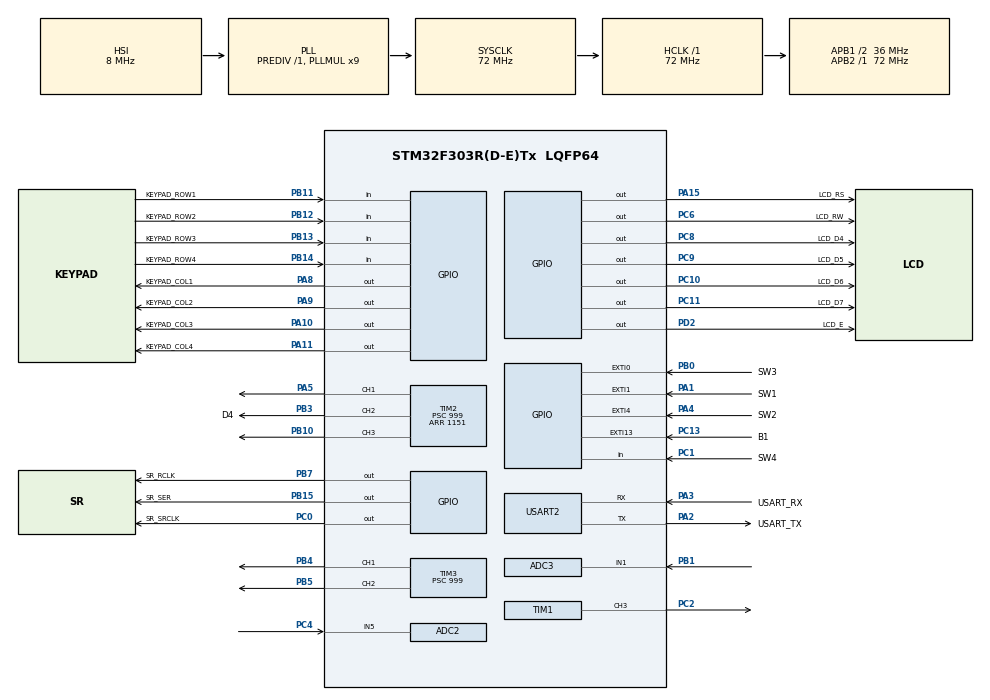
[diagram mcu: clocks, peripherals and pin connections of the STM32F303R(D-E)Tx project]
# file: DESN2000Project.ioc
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ADC2.Channel-0\#ChannelRegularConversion=ADC_CHANNEL_5
ADC2.NbrOfConversionFlag=1
ADC2.Offset-0\#ChannelRegularConversion=0
ADC2.OffsetNumber-0\#ChannelRegularConversion=ADC_OFFSET_NONE
ADC2.Rank-0\#ChannelRegularConversion=1
ADC2.SamplingTime-0\#ChannelRegularConversion=ADC_SAMPLETIME_1CYCLE_5
ADC2.SamplingTimeOPAMP-0\#ChannelRegularConversion=ADC_SAMPLETIME_61CYCLES_5
ADC3.Channel-0\#ChannelRegularConversion=ADC_CHANNEL_1
ADC3.NbrOfConversionFlag=1
ADC3.Offset-0\#ChannelRegularConversion=0
ADC3.OffsetNumber-0\#ChannelRegularConversion=ADC_OFFSET_NONE
ADC3.Rank-0\#ChannelRegularConversion=1
ADC3.SamplingTime-0\#ChannelRegularConversion=ADC_SAMPLETIME_1CYCLE_5
ADC3.SamplingTimeOPAMP-0\#ChannelRegularConversion=ADC_SAMPLETIME_61CYCLES_5
ADC3.master=1
Mcu.Family=STM32F3
Mcu.Name=STM32F303R(D-E)Tx
Mcu.Package=LQFP64
NVIC.EXTI0_IRQn=true\:0\:0\:false\:false\:true\:true\:true\:true
NVIC.EXTI15_10_IRQn=true\:0\:0\:false\:false\:true\:true\:true\:true
NVIC.EXTI1_IRQn=true\:0\:0\:false\:false\:true\:true\:true\:true
NVIC.EXTI4_IRQn=true\:0\:0\:false\:false\:true\:true\:true\:true
NVIC.PriorityGroup=NVIC_PRIORITYGROUP_0
NVIC.RTC_Alarm_IRQn=true\:0\:0\:false\:false\:true\:true\:true\:true
NVIC.TIM6_DAC_IRQn=true\:0\:0\:false\:false\:true\:true\:true\:true
NVIC.TIM7_IRQn=true\:0\:0\:false\:false\:true\:true\:true\:true
PA1.GPIO_Label=SW1
PA1.Signal=GPXTI1
PA10.GPIO_Label=KEYPAD_COL3
PA10.Signal=GPIO_Output
PA11.GPIO_Label=KEYPAD_COL4
PA11.Signal=GPIO_Output
PA13.GPIO_Label=TMS
PA13.Mode=Serial_Wire
PA13.Signal=SYS_JTMS-SWDIO
PA14.GPIO_Label=TCK
PA14.Mode=Serial_Wire
PA14.Signal=SYS_JTCK-SWCLK
PA15.GPIO_Label=LCD_RS
PA15.Signal=GPIO_Output
PA2.GPIO_Label=USART_TX
PA2.GPIO_Mode=GPIO_MODE_AF_PP
PA2.GPIO_PuPd=GPIO_NOPULL
PA2.GPIO_Speed=GPIO_SPEED_FREQ_LOW
PA2.Mode=Asynchronous
PA2.Signal=USART2_TX
PA3.GPIO_Label=USART_RX
PA3.GPIO_Mode=GPIO_MODE_AF_PP
PA3.GPIO_PuPd=GPIO_NOPULL
PA3.GPIO_Speed=GPIO_SPEED_FREQ_LOW
PA3.Mode=Asynchronous
PA3.Signal=USART2_RX
PA4.GPIO_Label=SW2
PA4.Signal=GPXTI4
PA5.Signal=S_TIM2_CH1_ETR
PA8.GPIO_Label=KEYPAD_COL1
PA8.Signal=GPIO_Output
PA9.GPIO_Label=KEYPAD_COL2
PA9.Signal=GPIO_Output
PB0.GPIO_Label=SW3
PB0.Signal=GPXTI0
PB1.Mode=IN1-Single-Ended
PB1.Signal=ADC3_IN1
PB10.Signal=S_TIM2_CH3
PB11.GPIO_Label=KEYPAD_ROW1
PB11.GPIO_PuPd=GPIO_PULLDOWN
PB11.Signal=GPIO_Input
PB12.GPIO_Label=KEYPAD_ROW2
PB12.GPIO_PuPd=GPIO_PULLDOWN
PB12.Signal=GPIO_Input
PB13.GPIO_Label=KEYPAD_ROW3
PB13.GPIO_PuPd=GPIO_PULLDOWN
PB13.Signal=GPIO_Input
PB14.GPIO_Label=KEYPAD_ROW4
PB14.GPIO_PuPd=GPIO_PULLDOWN
PB14.Signal=GPIO_Input
PB15.GPIO_Label=SR_SER
PB15.Signal=GPIO_Output
PB3.GPIO_Label=D4
PB3.Signal=S_TIM2_CH2
PB4.Signal=S_TIM3_CH1
PB5.Signal=S_TIM3_CH2
PB7.GPIO_Label=SR_RCLK
PB7.Signal=GPIO_Output
PC0.GPIO_Label=SR_SRCLK
PC0.Signal=GPIO_Output
PC1.GPIO_Label=SW4
PC1.Signal=GPIO_Input
PC10.GPIO_Label=LCD_D6
PC10.Signal=GPIO_Output
PC11.GPIO_Label=LCD_D7
PC11.Signal=GPIO_Output
PC13.GPIO_Label=B1
PC13.GPIO_PuPd=GPIO_PULLUP
PC13.Signal=GPXTI13
PC14-OSC32_IN.Mode=LSE-External-Oscillator
PC14-OSC32_IN.Signal=RCC_OSC32_IN
PC15-OSC32_OUT.Mode=LSE-External-Oscillator
PC15-OSC32_OUT.Signal=RCC_OSC32_OUT
PC2.Signal=S_TIM1_CH3
PC4.Mode=IN5-Single-Ended
PC4.Signal=ADC2_IN5
PC6.GPIO_Label=LCD_RW
PC6.Signal=GPIO_Output
PC8.GPIO_Label=LCD_D4
PC8.Signal=GPIO_Output
PC9.GPIO_Label=LCD_D5
PC9.Signal=GPIO_Output
PD2.GPIO_Label=LCD_E
PD2.Signal=GPIO_Output
PF0-OSC_IN.Mode=HSE-External-Clock-Source
PF0-OSC_IN.Signal=RCC_OSC_IN
PF1-OSC_OUT.Signal=RCC_OSC_OUT
ProjectManager.HeapSize=0x200
ProjectManager.StackSize=0x400
ProjectManager.TargetToolchain=STM32CubeIDE
RCC.AHBFreq_Value=72000000
RCC.APB1CLKDivider=RCC_HCLK_DIV2
RCC.APB1Freq_Value=36000000
RCC.APB1TimFreq_Value=72000000
RCC.APB2Freq_Value=72000000
RCC.APB2TimFreq_Value=72000000
RCC.CortexFreq_Value=72000000
RCC.HCLKFreq_Value=72000000
RCC.HSE_VALUE=8000000
RCC.HSI_VALUE=8000000
RCC.PLLM=8
RCC.PLLMUL=RCC_PLL_MUL9
RCC.PLLN=336
RCC.PLLP=RCC_PLLP_DIV4
RCC.PLLQ=7
RCC.RCC_PLLsource_Clock_Source_FROM_HSE=RCC_HSE_PREDIV_DIV2
RCC.RTCClockSelection=RCC_RTCCLKSOURCE_LSE
RCC.SYSCLKFreq_VALUE=72000000
RCC.SYSCLKSourceVirtual=RCC_SYSCLKSOURCE_PLLCLK
RCC.USBFreq_Value=72000000
RTC.Alarm-Alarm\ A=RTC_ALARM_A
RTC.AlarmDateWeekDaySel-Alarm\ A=RTC_ALARMDATEWEEKDAYSEL_WEEKDAY
RTC.Format=RTC_FORMAT_BIN
RTC.Minutes_A-Alarm\ A=0
RTC.Seconds_A-Alarm\ A=0
SH.S_TIM1_CH3.0=TIM1_CH3,PWM Generation3 CH3
SH.S_TIM2_CH1_ETR.0=TIM2_CH1,PWM Generation1 CH1
SH.S_TIM2_CH2.0=TIM2_CH2,PWM Generation2 CH2
SH.S_TIM2_CH3.0=TIM2_CH3,PWM Generation3 CH3
SH.S_TIM3_CH1.0=TIM3_CH1,PWM Generation1 CH1
SH.S_TIM3_CH2.0=TIM3_CH2,PWM Generation2 CH2
TIM1.Channel-PWM\ Generation3\ CH3=TIM_CHANNEL_3
TIM1.Period=400
TIM1.Prescaler=71
TIM1.Pulse-PWM\ Generation3\ CH3=0
TIM2.Channel-PWM\ Generation1\ CH1=TIM_CHANNEL_1
TIM2.Channel-PWM\ Generation2\ CH2=TIM_CHANNEL_2
TIM2.Channel-PWM\ Generation3\ CH3=TIM_CHANNEL_3
TIM2.Period=1151
TIM2.Prescaler=999
TIM2.Pulse-PWM\ Generation1\ CH1=115
TIM2.Pulse-PWM\ Generation2\ CH2=115
TIM2.Pulse-PWM\ Generation3\ CH3=115
TIM3.Channel-PWM\ Generation1\ CH1=TIM_CHANNEL_1
TIM3.Channel-PWM\ Generation2\ CH2=TIM_CHANNEL_2
TIM3.Period=1151
TIM3.Prescaler=999
TIM3.Pulse-PWM\ Generation1\ CH1=115
TIM3.Pulse-PWM\ Generation2\ CH2=115
TIM6.Period=719
TIM6.Prescaler=999
TIM7.AutoReloadPreload=TIM_AUTORELOAD_PRELOAD_DISABLE
TIM7.Period=7199
TIM7.Prescaler=9999
USART2.VirtualMode-Asynchronous=VM_ASYNC
VP_RTC_VS_RTC_Activate.Mode=RTC_Enabled
VP_RTC_VS_RTC_Alarm_A_Intern.Mode=Alarm A
VP_RTC_VS_RTC_Calendar.Mode=RTC_Calendar
VP_TIM1_VS_ClockSourceINT.Mode=Internal
VP_TIM2_VS_ClockSourceINT.Mode=Internal
VP_TIM3_VS_ClockSourceINT.Mode=Internal
VP_TIM6_VS_ClockSourceINT.Mode=Enable_Timer
VP_TIM7_VS_ClockSourceINT.Mode=Enable_Timer
board=NUCLEO-F303RE

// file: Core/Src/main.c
/* USER CODE BEGIN Header */
/**
  ******************************************************************************
  * @file           : main.c
  * @brief          : Main program body
  ******************************************************************************
  * @attention
  *
  * Copyright (c) 2024 STMicroelectronics.
  * All rights reserved.
  *
  * This software is licensed under terms that can be found in the LICENSE file
  * in the root directory of this software component.
  * If no LICENSE file comes with this software, it is provided AS-IS.
  *
  ******************************************************************************
  */
/* USER CODE END Header */
#include "main.h"

/* USER CODE BEGIN Includes */
#include "def.h"
#include "LCD.h"
#include "LEDBar.h"
#include "Keypad.h"
#include "STD_CLK.h"
#include "timer.h"
#include "coast.h"
/* USER CODE END Includes */

ADC_HandleTypeDef hadc2;
ADC_HandleTypeDef hadc3;

RTC_HandleTypeDef hrtc;

TIM_HandleTypeDef htim1;
TIM_HandleTypeDef htim2;
TIM_HandleTypeDef htim3;
TIM_HandleTypeDef htim6;
TIM_HandleTypeDef htim7;

UART_HandleTypeDef huart2;

void SystemClock_Config(void);
static void MX_GPIO_Init(void);
static void MX_USART2_UART_Init(void);
static void MX_RTC_Init(void);
static void MX_TIM7_Init(void);
static void MX_TIM1_Init(void);
static void MX_TIM2_Init(void);
static void MX_TIM3_Init(void);
static void MX_TIM6_Init(void);
static void MX_ADC2_Init(void);
static void MX_ADC3_Init(void);

int main(void)
{

  /* MCU Configuration--------------------------------------------------------*/

  /* Reset of all peripherals, Initializes the Flash interface and the Systick. */
  HAL_Init();

  /* Configure the system clock */
  SystemClock_Config();

  /* Initialize all configured peripherals */
  MX_GPIO_Init();
  MX_USART2_UART_Init();
  MX_RTC_Init();
  MX_TIM7_Init();
  MX_TIM1_Init();
  MX_TIM2_Init();
  MX_TIM3_Init();
  MX_TIM6_Init();
  MX_ADC2_Init();
  MX_ADC3_Init();
  /* USER CODE BEGIN 2 */
  HAL_TIM_Base_Start_IT(&htim6);
  HAL_TIM_Base_Start_IT(&htim7);
  HAL_TIM_PWM_Start(&htim1, TIM_CHANNEL_3);
  coast_start();

  // PWM for LD2 and direct LEDs
  HAL_TIM_PWM_Start(&htim2, TIM_CHANNEL_1);
  HAL_TIM_PWM_Start(&htim2, TIM_CHANNEL_2);
  HAL_TIM_PWM_Start(&htim2, TIM_CHANNEL_3);
  HAL_TIM_PWM_Start(&htim3, TIM_CHANNEL_1);
  HAL_TIM_PWM_Start(&htim3, TIM_CHANNEL_2);
  // ADC for LDR1 and LDR2
  HAL_ADC_Start(&hadc2);
  HAL_ADC_Start(&hadc3);
  /* USER CODE END 2 */

  /* Infinite loop */
  while (1)
  {

    /* USER CODE BEGIN 3 */
	  coast_loop_body();

  }
  /* USER CODE END 3 */
}

void SystemClock_Config(void)
{
  RCC_OscInitTypeDef RCC_OscInitStruct = {0};
  RCC_ClkInitTypeDef RCC_ClkInitStruct = {0};
  RCC_PeriphCLKInitTypeDef PeriphClkInit = {0};

  /** Configure LSE Drive Capability
  */
  HAL_PWR_EnableBkUpAccess();
  __HAL_RCC_LSEDRIVE_CONFIG(RCC_LSEDRIVE_LOW);

  /** Initializes the RCC Oscillators according to the specified parameters
  * in the RCC_OscInitTypeDef structure.
  */
  RCC_OscInitStruct.OscillatorType = RCC_OSCILLATORTYPE_HSI|RCC_OSCILLATORTYPE_LSE;
  RCC_OscInitStruct.LSEState = RCC_LSE_ON;
  RCC_OscInitStruct.HSIState = RCC_HSI_ON;
  RCC_OscInitStruct.HSICalibrationValue = RCC_HSICALIBRATION_DEFAULT;
  RCC_OscInitStruct.PLL.PLLState = RCC_PLL_ON;
  RCC_OscInitStruct.PLL.PLLSource = RCC_PLLSOURCE_HSI;
  RCC_OscInitStruct.PLL.PLLMUL = RCC_PLL_MUL9;
  RCC_OscInitStruct.PLL.PREDIV = RCC_PREDIV_DIV1;
  if (HAL_RCC_OscConfig(&RCC_OscInitStruct) != HAL_OK)
  {
    Error_Handler();
  }

  /** Initializes the CPU, AHB and APB buses clocks
  */
  RCC_ClkInitStruct.ClockType = RCC_CLOCKTYPE_HCLK|RCC_CLOCKTYPE_SYSCLK
                              |RCC_CLOCKTYPE_PCLK1|RCC_CLOCKTYPE_PCLK2;
  RCC_ClkInitStruct.SYSCLKSource = RCC_SYSCLKSOURCE_PLLCLK;
  RCC_ClkInitStruct.AHBCLKDivider = RCC_SYSCLK_DIV1;
  RCC_ClkInitStruct.APB1CLKDivider = RCC_HCLK_DIV2;
  RCC_ClkInitStruct.APB2CLKDivider = RCC_HCLK_DIV1;

  if (HAL_RCC_ClockConfig(&RCC_ClkInitStruct, FLASH_LATENCY_2) != HAL_OK)
  {
    Error_Handler();
  }
  PeriphClkInit.PeriphClockSelection = RCC_PERIPHCLK_USART2|RCC_PERIPHCLK_RTC
                              |RCC_PERIPHCLK_TIM1|RCC_PERIPHCLK_ADC12
                              |RCC_PERIPHCLK_ADC34|RCC_PERIPHCLK_TIM2
                              |RCC_PERIPHCLK_TIM34;
  PeriphClkInit.Usart2ClockSelection = RCC_USART2CLKSOURCE_PCLK1;
  PeriphClkInit.Adc12ClockSelection = RCC_ADC12PLLCLK_DIV1;
  PeriphClkInit.Adc34ClockSelection = RCC_ADC34PLLCLK_DIV1;
  PeriphClkInit.RTCClockSelection = RCC_RTCCLKSOURCE_LSE;
  PeriphClkInit.Tim1ClockSelection = RCC_TIM1CLK_HCLK;
  PeriphClkInit.Tim2ClockSelection = RCC_TIM2CLK_HCLK;
  PeriphClkInit.Tim34ClockSelection = RCC_TIM34CLK_HCLK;
  if (HAL_RCCEx_PeriphCLKConfig(&PeriphClkInit) != HAL_OK)
  {
    Error_Handler();
  }
}

static void MX_ADC2_Init(void)
{

  ADC_ChannelConfTypeDef sConfig = {0};

  /** Common config
  */
  hadc2.Instance = ADC2;
  hadc2.Init.ClockPrescaler = ADC_CLOCK_ASYNC_DIV1;
  hadc2.Init.Resolution = ADC_RESOLUTION_12B;
  hadc2.Init.ScanConvMode = ADC_SCAN_DISABLE;
  hadc2.Init.ContinuousConvMode = DISABLE;
  hadc2.Init.DiscontinuousConvMode = DISABLE;
  hadc2.Init.ExternalTrigConvEdge = ADC_EXTERNALTRIGCONVEDGE_NONE;
  hadc2.Init.ExternalTrigConv = ADC_SOFTWARE_START;
  hadc2.Init.DataAlign = ADC_DATAALIGN_RIGHT;
  hadc2.Init.NbrOfConversion = 1;
  hadc2.Init.DMAContinuousRequests = DISABLE;
  hadc2.Init.EOCSelection = ADC_EOC_SINGLE_CONV;
  hadc2.Init.LowPowerAutoWait = DISABLE;
  hadc2.Init.Overrun = ADC_OVR_DATA_OVERWRITTEN;
  if (HAL_ADC_Init(&hadc2) != HAL_OK)
  {
    Error_Handler();
  }

  /** Configure Regular Channel
  */
  sConfig.Channel = ADC_CHANNEL_5;
  sConfig.Rank = ADC_REGULAR_RANK_1;
  sConfig.SingleDiff = ADC_SINGLE_ENDED;
  sConfig.SamplingTime = ADC_SAMPLETIME_1CYCLE_5;
  sConfig.OffsetNumber = ADC_OFFSET_NONE;
  sConfig.Offset = 0;
  if (HAL_ADC_ConfigChannel(&hadc2, &sConfig) != HAL_OK)
  {
    Error_Handler();
  }

}

static void MX_ADC3_Init(void)
{

  ADC_MultiModeTypeDef multimode = {0};
  ADC_ChannelConfTypeDef sConfig = {0};

  /** Common config
  */
  hadc3.Instance = ADC3;
  hadc3.Init.ClockPrescaler = ADC_CLOCK_ASYNC_DIV1;
  hadc3.Init.Resolution = ADC_RESOLUTION_12B;
  hadc3.Init.ScanConvMode = ADC_SCAN_DISABLE;
  hadc3.Init.ContinuousConvMode = DISABLE;
  hadc3.Init.DiscontinuousConvMode = DISABLE;
  hadc3.Init.ExternalTrigConvEdge = ADC_EXTERNALTRIGCONVEDGE_NONE;
  hadc3.Init.ExternalTrigConv = ADC_SOFTWARE_START;
  hadc3.Init.DataAlign = ADC_DATAALIGN_RIGHT;
  hadc3.Init.NbrOfConversion = 1;
  hadc3.Init.DMAContinuousRequests = DISABLE;
  hadc3.Init.EOCSelection = ADC_EOC_SINGLE_CONV;
  hadc3.Init.LowPowerAutoWait = DISABLE;
  hadc3.Init.Overrun = ADC_OVR_DATA_OVERWRITTEN;
  if (HAL_ADC_Init(&hadc3) != HAL_OK)
  {
    Error_Handler();
  }

  /** Configure the ADC multi-mode
  */
  multimode.Mode = ADC_MODE_INDEPENDENT;
  if (HAL_ADCEx_MultiModeConfigChannel(&hadc3, &multimode) != HAL_OK)
  {
    Error_Handler();
  }

  /** Configure Regular Channel
  */
  sConfig.Channel = ADC_CHANNEL_1;
  sConfig.Rank = ADC_REGULAR_RANK_1;
  sConfig.SingleDiff = ADC_SINGLE_ENDED;
  sConfig.SamplingTime = ADC_SAMPLETIME_1CYCLE_5;
  sConfig.OffsetNumber = ADC_OFFSET_NONE;
  sConfig.Offset = 0;
  if (HAL_ADC_ConfigChannel(&hadc3, &sConfig) != HAL_OK)
  {
    Error_Handler();
  }

}

static void MX_RTC_Init(void)
{

  RTC_TimeTypeDef sTime = {0};
  RTC_DateTypeDef sDate = {0};
  RTC_AlarmTypeDef sAlarm = {0};

  /** Initialize RTC Only
  */
  hrtc.Instance = RTC;
  hrtc.Init.HourFormat = RTC_HOURFORMAT_24;
  hrtc.Init.AsynchPrediv = 127;
  hrtc.Init.SynchPrediv = 255;
  hrtc.Init.OutPut = RTC_OUTPUT_DISABLE;
  hrtc.Init.OutPutPolarity = RTC_OUTPUT_POLARITY_HIGH;
  hrtc.Init.OutPutType = RTC_OUTPUT_TYPE_OPENDRAIN;
  if (HAL_RTC_Init(&hrtc) != HAL_OK)
  {
    Error_Handler();
  }

  /** Initialize RTC and set the Time and Date
  */
  sTime.Hours = 0;
  sTime.Minutes = 0;
  sTime.Seconds = 0;
  sTime.DayLightSaving = RTC_DAYLIGHTSAVING_NONE;
  sTime.StoreOperation = RTC_STOREOPERATION_RESET;
  if (HAL_RTC_SetTime(&hrtc, &sTime, RTC_FORMAT_BIN) != HAL_OK)
  {
    Error_Handler();
  }
  sDate.WeekDay = RTC_WEEKDAY_MONDAY;
  sDate.Month = RTC_MONTH_JANUARY;
  sDate.Date = 1;
  sDate.Year = 0;

  if (HAL_RTC_SetDate(&hrtc, &sDate, RTC_FORMAT_BIN) != HAL_OK)
  {
    Error_Handler();
  }

  /** Enable the Alarm A
  */
  sAlarm.AlarmTime.Hours = 0;
  sAlarm.AlarmTime.Minutes = 0;
  sAlarm.AlarmTime.Seconds = 0;
  sAlarm.AlarmTime.SubSeconds = 0;
  sAlarm.AlarmTime.DayLightSaving = RTC_DAYLIGHTSAVING_NONE;
  sAlarm.AlarmTime.StoreOperation = RTC_STOREOPERATION_RESET;
  sAlarm.AlarmMask = RTC_ALARMMASK_NONE;
  sAlarm.AlarmSubSecondMask = RTC_ALARMSUBSECONDMASK_ALL;
  sAlarm.AlarmDateWeekDaySel = RTC_ALARMDATEWEEKDAYSEL_WEEKDAY;
  sAlarm.AlarmDateWeekDay = 1;
  sAlarm.Alarm = RTC_ALARM_A;
  if (HAL_RTC_SetAlarm_IT(&hrtc, &sAlarm, RTC_FORMAT_BIN) != HAL_OK)
  {
    Error_Handler();
  }

}

static void MX_TIM1_Init(void)
{

  TIM_ClockConfigTypeDef sClockSourceConfig = {0};
  TIM_MasterConfigTypeDef sMasterConfig = {0};
  TIM_OC_InitTypeDef sConfigOC = {0};
  TIM_BreakDeadTimeConfigTypeDef sBreakDeadTimeConfig = {0};

  htim1.Instance = TIM1;
  htim1.Init.Prescaler = 71;
  htim1.Init.CounterMode = TIM_COUNTERMODE_UP;
  htim1.Init.Period = 400;
  htim1.Init.ClockDivision = TIM_CLOCKDIVISION_DIV1;
  htim1.Init.RepetitionCounter = 0;
  htim1.Init.AutoReloadPreload = TIM_AUTORELOAD_PRELOAD_DISABLE;
  if (HAL_TIM_Base_Init(&htim1) != HAL_OK)
  {
    Error_Handler();
  }
  sClockSourceConfig.ClockSource = TIM_CLOCKSOURCE_INTERNAL;
  if (HAL_TIM_ConfigClockSource(&htim1, &sClockSourceConfig) != HAL_OK)
  {
    Error_Handler();
  }
  if (HAL_TIM_PWM_Init(&htim1) != HAL_OK)
  {
    Error_Handler();
  }
  sMasterConfig.MasterOutputTrigger = TIM_TRGO_RESET;
  sMasterConfig.MasterOutputTrigger2 = TIM_TRGO2_RESET;
  sMasterConfig.MasterSlaveMode = TIM_MASTERSLAVEMODE_DISABLE;
  if (HAL_TIMEx_MasterConfigSynchronization(&htim1, &sMasterConfig) != HAL_OK)
  {
    Error_Handler();
  }
  sConfigOC.OCMode = TIM_OCMODE_PWM1;
  sConfigOC.Pulse = 0;
  sConfigOC.OCPolarity = TIM_OCPOLARITY_HIGH;
  sConfigOC.OCNPolarity = TIM_OCNPOLARITY_HIGH;
  sConfigOC.OCFastMode = TIM_OCFAST_DISABLE;
  sConfigOC.OCIdleState = TIM_OCIDLESTATE_RESET;
  sConfigOC.OCNIdleState = TIM_OCNIDLESTATE_RESET;
  if (HAL_TIM_PWM_ConfigChannel(&htim1, &sConfigOC, TIM_CHANNEL_3) != HAL_OK)
  {
    Error_Handler();
  }
  sBreakDeadTimeConfig.OffStateRunMode = TIM_OSSR_DISABLE;
  sBreakDeadTimeConfig.OffStateIDLEMode = TIM_OSSI_DISABLE;
  sBreakDeadTimeConfig.LockLevel = TIM_LOCKLEVEL_OFF;
  sBreakDeadTimeConfig.DeadTime = 0;
  sBreakDeadTimeConfig.BreakState = TIM_BREAK_DISABLE;
  sBreakDeadTimeConfig.BreakPolarity = TIM_BREAKPOLARITY_HIGH;
  sBreakDeadTimeConfig.BreakFilter = 0;
  sBreakDeadTimeConfig.Break2State = TIM_BREAK2_DISABLE;
  sBreakDeadTimeConfig.Break2Polarity = TIM_BREAK2POLARITY_HIGH;
  sBreakDeadTimeConfig.Break2Filter = 0;
  sBreakDeadTimeConfig.AutomaticOutput = TIM_AUTOMATICOUTPUT_DISABLE;
  if (HAL_TIMEx_ConfigBreakDeadTime(&htim1, &sBreakDeadTimeConfig) != HAL_OK)
  {
    Error_Handler();
  }
  HAL_TIM_MspPostInit(&htim1);

}

static void MX_TIM2_Init(void)
{

  TIM_ClockConfigTypeDef sClockSourceConfig = {0};
  TIM_MasterConfigTypeDef sMasterConfig = {0};
  TIM_OC_InitTypeDef sConfigOC = {0};

  htim2.Instance = TIM2;
  htim2.Init.Prescaler = 999;
  htim2.Init.CounterMode = TIM_COUNTERMODE_UP;
  htim2.Init.Period = 1151;
  htim2.Init.ClockDivision = TIM_CLOCKDIVISION_DIV1;
  htim2.Init.AutoReloadPreload = TIM_AUTORELOAD_PRELOAD_DISABLE;
  if (HAL_TIM_Base_Init(&htim2) != HAL_OK)
  {
    Error_Handler();
  }
  sClockSourceConfig.ClockSource = TIM_CLOCKSOURCE_INTERNAL;
  if (HAL_TIM_ConfigClockSource(&htim2, &sClockSourceConfig) != HAL_OK)
  {
    Error_Handler();
  }
  if (HAL_TIM_PWM_Init(&htim2) != HAL_OK)
  {
    Error_Handler();
  }
  sMasterConfig.MasterOutputTrigger = TIM_TRGO_RESET;
  sMasterConfig.MasterSlaveMode = TIM_MASTERSLAVEMODE_DISABLE;
  if (HAL_TIMEx_MasterConfigSynchronization(&htim2, &sMasterConfig) != HAL_OK)
  {
    Error_Handler();
  }
  sConfigOC.OCMode = TIM_OCMODE_PWM1;
  sConfigOC.Pulse = 115;
  sConfigOC.OCPolarity = TIM_OCPOLARITY_HIGH;
  sConfigOC.OCFastMode = TIM_OCFAST_DISABLE;
  if (HAL_TIM_PWM_ConfigChannel(&htim2, &sConfigOC, TIM_CHANNEL_1) != HAL_OK)
  {
    Error_Handler();
  }
  if (HAL_TIM_PWM_ConfigChannel(&htim2, &sConfigOC, TIM_CHANNEL_2) != HAL_OK)
  {
    Error_Handler();
  }
  if (HAL_TIM_PWM_ConfigChannel(&htim2, &sConfigOC, TIM_CHANNEL_3) != HAL_OK)
  {
    Error_Handler();
  }
  HAL_TIM_MspPostInit(&htim2);

}

static void MX_TIM3_Init(void)
{

  TIM_ClockConfigTypeDef sClockSourceConfig = {0};
  TIM_MasterConfigTypeDef sMasterConfig = {0};
  TIM_OC_InitTypeDef sConfigOC = {0};

  htim3.Instance = TIM3;
  htim3.Init.Prescaler = 999;
  htim3.Init.CounterMode = TIM_COUNTERMODE_UP;
  htim3.Init.Period = 1151;
  htim3.Init.ClockDivision = TIM_CLOCKDIVISION_DIV1;
  htim3.Init.AutoReloadPreload = TIM_AUTORELOAD_PRELOAD_DISABLE;
  if (HAL_TIM_Base_Init(&htim3) != HAL_OK)
  {
    Error_Handler();
  }
  sClockSourceConfig.ClockSource = TIM_CLOCKSOURCE_INTERNAL;
  if (HAL_TIM_ConfigClockSource(&htim3, &sClockSourceConfig) != HAL_OK)
  {
    Error_Handler();
  }
  if (HAL_TIM_PWM_Init(&htim3) != HAL_OK)
  {
    Error_Handler();
  }
  sMasterConfig.MasterOutputTrigger = TIM_TRGO_RESET;
  sMasterConfig.MasterSlaveMode = TIM_MASTERSLAVEMODE_DISABLE;
  if (HAL_TIMEx_MasterConfigSynchronization(&htim3, &sMasterConfig) != HAL_OK)
  {
    Error_Handler();
  }
  sConfigOC.OCMode = TIM_OCMODE_PWM1;
  sConfigOC.Pulse = 115;
  sConfigOC.OCPolarity = TIM_OCPOLARITY_HIGH;
  sConfigOC.OCFastMode = TIM_OCFAST_DISABLE;
  if (HAL_TIM_PWM_ConfigChannel(&htim3, &sConfigOC, TIM_CHANNEL_1) != HAL_OK)
  {
    Error_Handler();
  }
  if (HAL_TIM_PWM_ConfigChannel(&htim3, &sConfigOC, TIM_CHANNEL_2) != HAL_OK)
  {
    Error_Handler();
  }
  HAL_TIM_MspPostInit(&htim3);

}

static void MX_TIM6_Init(void)
{

  TIM_MasterConfigTypeDef sMasterConfig = {0};

  htim6.Instance = TIM6;
  htim6.Init.Prescaler = 999;
  htim6.Init.CounterMode = TIM_COUNTERMODE_UP;
  htim6.Init.Period = 719;
  htim6.Init.AutoReloadPreload = TIM_AUTORELOAD_PRELOAD_DISABLE;
  if (HAL_TIM_Base_Init(&htim6) != HAL_OK)
  {
    Error_Handler();
  }
  sMasterConfig.MasterOutputTrigger = TIM_TRGO_RESET;
  sMasterConfig.MasterSlaveMode = TIM_MASTERSLAVEMODE_DISABLE;
  if (HAL_TIMEx_MasterConfigSynchronization(&htim6, &sMasterConfig) != HAL_OK)
  {
    Error_Handler();
  }

}

static void MX_TIM7_Init(void)
{

  TIM_MasterConfigTypeDef sMasterConfig = {0};

  htim7.Instance = TIM7;
  htim7.Init.Prescaler = 9999;
  htim7.Init.CounterMode = TIM_COUNTERMODE_UP;
  htim7.Init.Period = 7199;
  htim7.Init.AutoReloadPreload = TIM_AUTORELOAD_PRELOAD_DISABLE;
  if (HAL_TIM_Base_Init(&htim7) != HAL_OK)
  {
    Error_Handler();
  }
  sMasterConfig.MasterOutputTrigger = TIM_TRGO_RESET;
  sMasterConfig.MasterSlaveMode = TIM_MASTERSLAVEMODE_DISABLE;
  if (HAL_TIMEx_MasterConfigSynchronization(&htim7, &sMasterConfig) != HAL_OK)
  {
    Error_Handler();
  }

}

static void MX_USART2_UART_Init(void)
{

  huart2.Instance = USART2;
  huart2.Init.BaudRate = 38400;
  huart2.Init.WordLength = UART_WORDLENGTH_8B;
  huart2.Init.StopBits = UART_STOPBITS_1;
  huart2.Init.Parity = UART_PARITY_NONE;
  huart2.Init.Mode = UART_MODE_TX_RX;
  huart2.Init.HwFlowCtl = UART_HWCONTROL_NONE;
  huart2.Init.OverSampling = UART_OVERSAMPLING_16;
  huart2.Init.OneBitSampling = UART_ONE_BIT_SAMPLE_DISABLE;
  huart2.AdvancedInit.AdvFeatureInit = UART_ADVFEATURE_NO_INIT;
  if (HAL_UART_Init(&huart2) != HAL_OK)
  {
    Error_Handler();
  }

}

static void MX_GPIO_Init(void)
{
  GPIO_InitTypeDef GPIO_InitStruct = {0};

  /* GPIO Ports Clock Enable */
  __HAL_RCC_GPIOC_CLK_ENABLE();
  __HAL_RCC_GPIOF_CLK_ENABLE();
  __HAL_RCC_GPIOA_CLK_ENABLE();
  __HAL_RCC_GPIOB_CLK_ENABLE();
  __HAL_RCC_GPIOD_CLK_ENABLE();

  /*Configure GPIO pin Output Level */
  HAL_GPIO_WritePin(GPIOC, SR_SRCLK_Pin|LCD_RW_Pin|LCD_D4_Pin|LCD_D5_Pin
                          |LCD_D6_Pin|LCD_D7_Pin, GPIO_PIN_RESET);

  /*Configure GPIO pin Output Level */
  HAL_GPIO_WritePin(GPIOB, SR_SER_Pin|SR_RCLK_Pin, GPIO_PIN_RESET);

  /*Configure GPIO pin Output Level */
  HAL_GPIO_WritePin(GPIOA, KEYPAD_COL1_Pin|KEYPAD_COL2_Pin|KEYPAD_COL3_Pin|KEYPAD_COL4_Pin
                          |LCD_RS_Pin, GPIO_PIN_RESET);

  /*Configure GPIO pin Output Level */
  HAL_GPIO_WritePin(LCD_E_GPIO_Port, LCD_E_Pin, GPIO_PIN_RESET);

  /*Configure GPIO pin : B1_Pin */
  GPIO_InitStruct.Pin = B1_Pin;
  GPIO_InitStruct.Mode = GPIO_MODE_IT_RISING;
  GPIO_InitStruct.Pull = GPIO_PULLUP;
  HAL_GPIO_Init(B1_GPIO_Port, &GPIO_InitStruct);

  /*Configure GPIO pins : SR_SRCLK_Pin LCD_RW_Pin LCD_D4_Pin LCD_D5_Pin
                           LCD_D6_Pin LCD_D7_Pin */
  GPIO_InitStruct.Pin = SR_SRCLK_Pin|LCD_RW_Pin|LCD_D4_Pin|LCD_D5_Pin
                          |LCD_D6_Pin|LCD_D7_Pin;
  GPIO_InitStruct.Mode = GPIO_MODE_OUTPUT_PP;
  GPIO_InitStruct.Pull = GPIO_NOPULL;
  GPIO_InitStruct.Speed = GPIO_SPEED_FREQ_LOW;
  HAL_GPIO_Init(GPIOC, &GPIO_InitStruct);

  /*Configure GPIO pin : SW4_Pin */
  GPIO_InitStruct.Pin = SW4_Pin;
  GPIO_InitStruct.Mode = GPIO_MODE_INPUT;
  GPIO_InitStruct.Pull = GPIO_NOPULL;
  HAL_GPIO_Init(SW4_GPIO_Port, &GPIO_InitStruct);

  /*Configure GPIO pins : SW1_Pin SW2_Pin */
  GPIO_InitStruct.Pin = SW1_Pin|SW2_Pin;
  GPIO_InitStruct.Mode = GPIO_MODE_IT_RISING;
  GPIO_InitStruct.Pull = GPIO_NOPULL;
  HAL_GPIO_Init(GPIOA, &GPIO_InitStruct);

  /*Configure GPIO pin : SW3_Pin */
  GPIO_InitStruct.Pin = SW3_Pin;
  GPIO_InitStruct.Mode = GPIO_MODE_IT_RISING;
  GPIO_InitStruct.Pull = GPIO_NOPULL;
  HAL_GPIO_Init(SW3_GPIO_Port, &GPIO_InitStruct);

  /*Configure GPIO pins : KEYPAD_ROW1_Pin KEYPAD_ROW2_Pin KEYPAD_ROW3_Pin KEYPAD_ROW4_Pin */
  GPIO_InitStruct.Pin = KEYPAD_ROW1_Pin|KEYPAD_ROW2_Pin|KEYPAD_ROW3_Pin|KEYPAD_ROW4_Pin;
  GPIO_InitStruct.Mode = GPIO_MODE_INPUT;
  GPIO_InitStruct.Pull = GPIO_PULLDOWN;
  HAL_GPIO_Init(GPIOB, &GPIO_InitStruct);

  /*Configure GPIO pins : SR_SER_Pin SR_RCLK_Pin */
  GPIO_InitStruct.Pin = SR_SER_Pin|SR_RCLK_Pin;
  GPIO_InitStruct.Mode = GPIO_MODE_OUTPUT_PP;
  GPIO_InitStruct.Pull = GPIO_NOPULL;
  GPIO_InitStruct.Speed = GPIO_SPEED_FREQ_LOW;
  HAL_GPIO_Init(GPIOB, &GPIO_InitStruct);

  /*Configure GPIO pins : KEYPAD_COL1_Pin KEYPAD_COL2_Pin KEYPAD_COL3_Pin KEYPAD_COL4_Pin
                           LCD_RS_Pin */
  GPIO_InitStruct.Pin = KEYPAD_COL1_Pin|KEYPAD_COL2_Pin|KEYPAD_COL3_Pin|KEYPAD_COL4_Pin
                          |LCD_RS_Pin;
  GPIO_InitStruct.Mode = GPIO_MODE_OUTPUT_PP;
  GPIO_InitStruct.Pull = GPIO_NOPULL;
  GPIO_InitStruct.Speed = GPIO_SPEED_FREQ_LOW;
  HAL_GPIO_Init(GPIOA, &GPIO_InitStruct);

  /*Configure GPIO pin : LCD_E_Pin */
  GPIO_InitStruct.Pin = LCD_E_Pin;
  GPIO_InitStruct.Mode = GPIO_MODE_OUTPUT_PP;
  GPIO_InitStruct.Pull = GPIO_NOPULL;
  GPIO_InitStruct.Speed = GPIO_SPEED_FREQ_LOW;
  HAL_GPIO_Init(LCD_E_GPIO_Port, &GPIO_InitStruct);

  /* EXTI interrupt init*/
  HAL_NVIC_SetPriority(EXTI0_IRQn, 0, 0);
  HAL_NVIC_EnableIRQ(EXTI0_IRQn);

  HAL_NVIC_SetPriority(EXTI1_IRQn, 0, 0);
  HAL_NVIC_EnableIRQ(EXTI1_IRQn);

  HAL_NVIC_SetPriority(EXTI4_IRQn, 0, 0);
  HAL_NVIC_EnableIRQ(EXTI4_IRQn);

  HAL_NVIC_SetPriority(EXTI15_10_IRQn, 0, 0);
  HAL_NVIC_EnableIRQ(EXTI15_10_IRQn);

/* USER CODE BEGIN MX_GPIO_Init_2 */
  coast_gpio_init();
/* USER CODE END MX_GPIO_Init_2 */
}

/* USER CODE BEGIN 4 */
void HAL_RTC_AlarmAEventCallback(RTC_HandleTypeDef *hrtc) {
    STD_CLK_AlarmEventHandle();
}
// currently unused
void HAL_RTC_AlarmBEventCallback(RTC_HandleTypeDef *hrtc) {
    // Handle the event triggered by Alarm B
}

void HAL_GPIO_EXTI_Callback(uint16_t GPIO_Pin)
{
	coast_handle_interrupt(GPIO_Pin);
}

void HAL_TIM_PeriodElapsedCallback(TIM_HandleTypeDef *htim)
{
    if (htim == &htim7) {
    	coast_handle_tim7_interrupt();
    	//STD_CLK_AlarmEventHandle();
    } else if (htim == &htim6) {
		coast_handle_tim6_interrupt();
	}
}
/* USER CODE END 4 */

void Error_Handler(void)
{
  __disable_irq();
  while (1)
  {
  }
}
